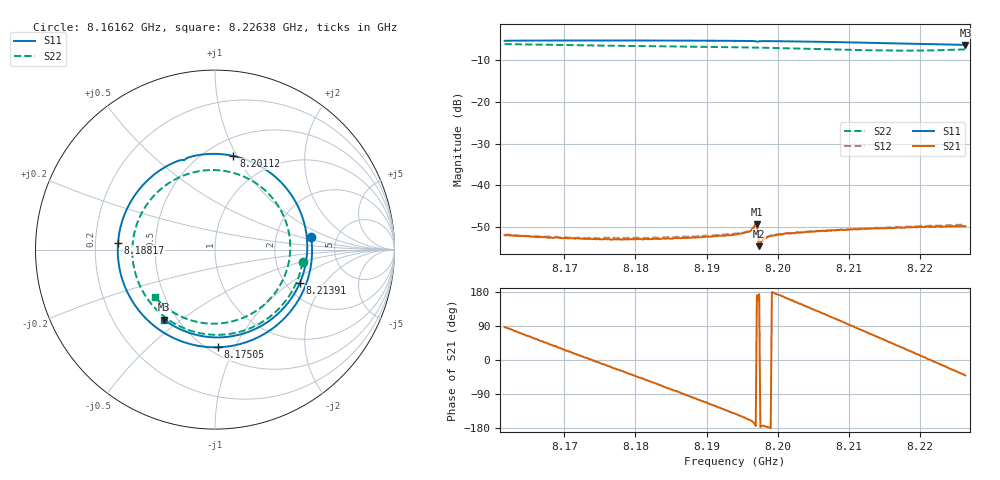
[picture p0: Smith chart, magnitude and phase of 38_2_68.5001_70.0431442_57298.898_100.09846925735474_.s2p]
#  HZ  S  RI  R  50.00
! Rohde & Schwarz Vector Network Analyzer
! Rohde-Schwarz,ZNB20-2Port,1311601062101988,3.16
! Created: UTC 3/20/2024, 5:05:22 PM
! freq[Hz]  re:S11  im:S11  re:S21  im:S21  re:S12  im:S12  re:S22  im:S22
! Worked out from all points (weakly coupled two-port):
!   401 points, 8.16162 GHz to 8.22638 GHz, reference 50 ohm
!   highest |S21| = -49.30 dB at 8.19707 GHz (marker M1); lowest = -54.6 dB at 8.1974 GHz (marker M2)
!   lowest |S11| = -6.3 dB at 8.22638 GHz (marker M3), VSWR 2.86, Z = 21.3 - j21.7 ohm
!   |S11| at or under -10 dB: nowhere
!   |S22| runs from -7.7 to -6.2 dB; largest |S21 - S12| = 0.00022
!   S11 on the Smith chart (normalised r, x): 8.16162 GHz: 3.20, +0.64; 8.17505 GHz: 0.56, -0.86; 8.18817 GHz: 0.30, +0.03; 8.20112 GHz: 0.67, +0.97; 8.21391 GHz: 2.38, -1.18; 8.22638 GHz: 0.43, -0.43
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8.161617e9  0.5352 0.0711  0.000148 0.00251  0.000102 0.00256  0.4875 -0.0705
8.166798e9  0.4737 -0.2658  0.00155 0.00184  0.00155 0.00184  0.3465 -0.3387
8.172464e9  0.1884 -0.5108  0.00223 0.000397  0.00233 0.000405  0.0531 -0.4732
8.175054e9  0.0155 -0.5442  0.00222 -0.000317  0.00229 -0.000357  -0.0942 -0.4634
8.17894e9  -0.2427 -0.4869  0.00183 -0.0013  0.0019 -0.00137  -0.2903 -0.3674
8.183311e9  -0.4625 -0.2846  0.000935 -0.00207  0.000936 -0.00218  -0.4311 -0.1705
8.188168e9  -0.5401 0.0392  -0.000424 -0.00233  -0.000449 -0.00238  -0.4486 0.0955
8.191082e9  -0.4865 0.235  -0.00123 -0.00212  -0.00134 -0.00212  -0.3849 0.2435
8.193997e9  -0.3637 0.3972  -0.00201 -0.0016  -0.00213 -0.00158  -0.2725 0.36
8.196749e9  -0.1959 0.4973  -0.00314 -0.000676  -0.00321 -0.000584  -0.134 0.4265
8.197073e9  -0.1728 0.4985  -0.00339 0.000528  -0.00346 0.000641  -0.1162 0.4311
8.197396e9  -0.1607 0.5073  -0.00184 0.000202  -0.0019 0.00029  -0.0986 0.4351
8.19772e9  -0.1376 0.5165  -0.0021 -0.000214  -0.00213 -0.00011  -0.0806 0.4383
8.198854e9  -0.0573 0.5312  -0.00244 -5.26e-05  -0.00247 4.57e-05  -0.0166 0.4431
8.20112e9  0.1023 0.5219  -0.00254 0.00071  -0.0025 0.000816  0.1109 0.425
8.204844e9  0.3357 0.4054  -0.00196 0.002  -0.00189 0.00204  0.2938 0.3161
8.209539e9  0.5029 0.1228  -0.000355 0.00288  -0.000272 0.00289  0.4154 0.0708
8.21391e9  0.4733 -0.1843  0.00145 0.00269  0.00152 0.00271  0.3678 -0.1895
8.215691e9  0.4084 -0.2949  0.00212 0.00223  0.00218 0.00223  0.302 -0.2802
8.221034e9  0.0826 -0.4845  0.00318 0.000193  0.00323 8.42e-05  -0.0102 -0.4127
8.223624e9  -0.1036 -0.4754  0.00305 -0.000952  0.00311 -0.00113  -0.18 -0.3768
8.226376e9  -0.2826 -0.3911  0.00245 -0.0021  0.00243 -0.00231  -0.3316 -0.2667
